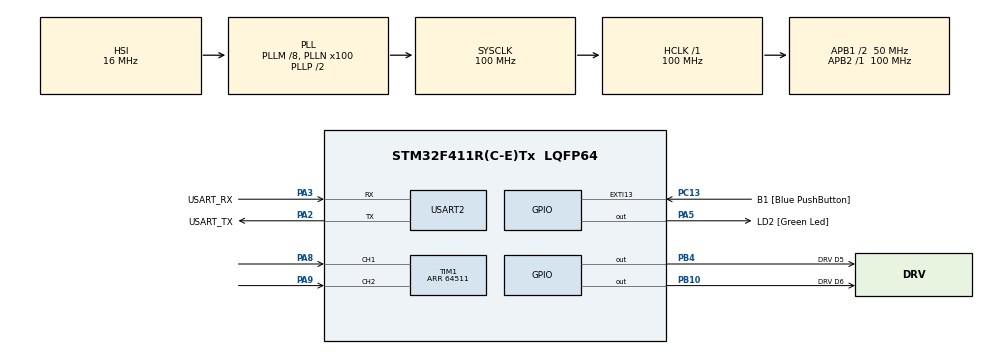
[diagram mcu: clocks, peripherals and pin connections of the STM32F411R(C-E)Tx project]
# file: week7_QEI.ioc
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Mcu.Family=STM32F4
Mcu.Name=STM32F411R(C-E)Tx
Mcu.Package=LQFP64
NVIC.PriorityGroup=NVIC_PRIORITYGROUP_0
NVIC.TIM1_TRG_COM_TIM11_IRQn=true\:0\:0\:false\:false\:true\:true\:true
NVIC.TIM3_IRQn=true\:0\:0\:false\:false\:true\:true\:true
PA13.GPIO_Label=TMS
PA13.Mode=Serial_Wire
PA13.Signal=SYS_JTMS-SWDIO
PA14.GPIO_Label=TCK
PA14.Mode=Serial_Wire
PA14.Signal=SYS_JTCK-SWCLK
PA2.GPIO_Label=USART_TX
PA2.Mode=Asynchronous
PA2.Signal=USART2_TX
PA3.GPIO_Label=USART_RX
PA3.Mode=Asynchronous
PA3.Signal=USART2_RX
PA5.GPIO_Label=LD2 [Green Led]
PA5.Signal=GPIO_Output
PA8.Signal=S_TIM1_CH1
PA9.Signal=S_TIM1_CH2
PB10.GPIO_Label=DRV D6
PB10.Signal=GPIO_Output
PB3.GPIO_Label=SWO
PB3.Signal=SYS_JTDO-SWO
PB4.GPIO_Label=DRV D5
PB4.Signal=GPIO_Output
PC13-ANTI_TAMP.GPIO_Label=B1 [Blue PushButton]
PC13-ANTI_TAMP.GPIO_ModeDefaultEXTI=GPIO_MODE_IT_FALLING
PC13-ANTI_TAMP.Signal=GPXTI13
PC14-OSC32_IN.Mode=LSE-External-Oscillator
PC14-OSC32_IN.Signal=RCC_OSC32_IN
PC15-OSC32_OUT.Mode=LSE-External-Oscillator
PC15-OSC32_OUT.Signal=RCC_OSC32_OUT
PH0\ -\ OSC_IN.Mode=HSE-External-Clock-Source
PH0\ -\ OSC_IN.Signal=RCC_OSC_IN
PH1\ -\ OSC_OUT.Mode=HSE-External-Clock-Source
PH1\ -\ OSC_OUT.Signal=RCC_OSC_OUT
ProjectManager.HeapSize=0x200
ProjectManager.StackSize=0x400
ProjectManager.TargetToolchain=STM32CubeIDE
RCC.48MHZClocksFreq_Value=50000000
RCC.AHBFreq_Value=100000000
RCC.APB1CLKDivider=RCC_HCLK_DIV2
RCC.APB1Freq_Value=50000000
RCC.APB1TimFreq_Value=100000000
RCC.APB2Freq_Value=100000000
RCC.APB2TimFreq_Value=100000000
RCC.CortexFreq_Value=100000000
RCC.FLatency-AdvancedSettings=FLASH_LATENCY_3
RCC.HCLKFreq_Value=100000000
RCC.HSE_VALUE=8000000
RCC.HSI_VALUE=16000000
RCC.PLLM=8
RCC.PLLN=100
RCC.SYSCLKFreq_VALUE=100000000
RCC.SYSCLKSource=RCC_SYSCLKSOURCE_PLLCLK
RCC.VCOOutputFreq_Value=200000000
SH.S_TIM1_CH1.0=TIM1_CH1,Encoder_Interface
SH.S_TIM1_CH2.0=TIM1_CH2,Encoder_Interface
TIM1.EncoderMode=TIM_ENCODERMODE_TI12
TIM1.Period=64511
TIM3.Prescaler=99
USART2.VirtualMode=VM_ASYNC
VP_TIM3_VS_ClockSourceINT.Mode=Internal
board=NUCLEO-F411RE

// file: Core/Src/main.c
 /* USER CODE BEGIN Header */
/**
  ******************************************************************************
  * @file           : main.c
  * @brief          : Main program body
  ******************************************************************************
  * @attention
  *
  * Copyright (c) 2022 STMicroelectronics.
  * All rights reserved.
  *
  * This software is licensed under terms that can be found in the LICENSE file
  * in the root directory of this software component.
  * If no LICENSE file comes with this software, it is provided AS-IS.
  *
  ******************************************************************************
  */
/* USER CODE END Header */
#include "main.h"

/* USER CODE BEGIN Includes */
#define _USER_MATH_DEFINES
#include "math.h"
/* USER CODE END Includes */

/* USER CODE BEGIN PD */
#define PulsePerRev 3072 //12[encoder fin] * 64[gearbox] * 4[QEI rising edge]

/* USER CODE END PD */

TIM_HandleTypeDef htim1;
TIM_HandleTypeDef htim3;

UART_HandleTypeDef huart2;

/* USER CODE BEGIN PV */
uint64_t _micros = 0;

uint16_t RawRead = 0;

float DegRel = 0;
float DegAbs = 0;
float RadRel = 0;
float RadAbs = 0;

// PID------------PID----------------PID-----------
float TargetDeg = 0; // target degree pid
float ErrPos[2] = {0};  // error
float u_contr = 0;
float PreviTime = 0; // find delta T
float DeltaTime = 0;
float CrrntTime = 0;
uint8_t ErrPosx = 0;

float K_P = 0.7;
float K_I = 0.009;
float K_D = 0;

float Propo;
float Integral;
float Derivate;

// mot drv3388----------mot dr3388
int8_t MotCW = 1; // CW = 1, CCW = -1, stop = 0
uint16_t PWMotDrv = 0;
uint8_t PWMCnter = 0;
uint64_t PWMTimestamp = 0;
uint8_t D5pin = 1,D6pin =  1; // out logic for driver
uint8_t aspwm = 0;

uint32_t timestamp = 0;
/* USER CODE END PV */

void SystemClock_Config(void);
static void MX_GPIO_Init(void);
static void MX_USART2_UART_Init(void);
static void MX_TIM1_Init(void);
static void MX_TIM3_Init(void);
/* USER CODE BEGIN PFP */
uint64_t micros();
void UpdatePosition();
void PIDzero();
void MotDrv();
void PWMgen();
/* USER CODE END PFP */

int main(void)
{

  /* MCU Configuration--------------------------------------------------------*/

  /* Reset of all peripherals, Initializes the Flash interface and the Systick. */
  HAL_Init();

  /* Configure the system clock */
  SystemClock_Config();

  /* Initialize all configured peripherals */
  MX_GPIO_Init();
  MX_USART2_UART_Init();
  MX_TIM1_Init();
  MX_TIM3_Init();
  /* USER CODE BEGIN 2 */
  HAL_TIM_Encoder_Start(&htim1, TIM_CHANNEL_ALL);
  HAL_TIM_Base_Start_IT(&htim3);
  /* USER CODE END 2 */

  /* Infinite loop */
  while (1)
  {

    /* USER CODE BEGIN 3 */

	  UpdatePosition();

	  PWMgen();
	  PIDzero();

	  if (micros()- timestamp >= 1000)
	  {
		  MotDrv();
	  }

  }
  /* USER CODE END 3 */
}

void SystemClock_Config(void)
{
  RCC_OscInitTypeDef RCC_OscInitStruct = {0};
  RCC_ClkInitTypeDef RCC_ClkInitStruct = {0};

  /** Configure the main internal regulator output voltage
  */
  __HAL_RCC_PWR_CLK_ENABLE();
  __HAL_PWR_VOLTAGESCALING_CONFIG(PWR_REGULATOR_VOLTAGE_SCALE1);
  /** Initializes the RCC Oscillators according to the specified parameters
  * in the RCC_OscInitTypeDef structure.
  */
  RCC_OscInitStruct.OscillatorType = RCC_OSCILLATORTYPE_HSI;
  RCC_OscInitStruct.HSIState = RCC_HSI_ON;
  RCC_OscInitStruct.HSICalibrationValue = RCC_HSICALIBRATION_DEFAULT;
  RCC_OscInitStruct.PLL.PLLState = RCC_PLL_ON;
  RCC_OscInitStruct.PLL.PLLSource = RCC_PLLSOURCE_HSI;
  RCC_OscInitStruct.PLL.PLLM = 8;
  RCC_OscInitStruct.PLL.PLLN = 100;
  RCC_OscInitStruct.PLL.PLLP = RCC_PLLP_DIV2;
  RCC_OscInitStruct.PLL.PLLQ = 4;
  if (HAL_RCC_OscConfig(&RCC_OscInitStruct) != HAL_OK)
  {
    Error_Handler();
  }
  /** Initializes the CPU, AHB and APB buses clocks
  */
  RCC_ClkInitStruct.ClockType = RCC_CLOCKTYPE_HCLK|RCC_CLOCKTYPE_SYSCLK
                              |RCC_CLOCKTYPE_PCLK1|RCC_CLOCKTYPE_PCLK2;
  RCC_ClkInitStruct.SYSCLKSource = RCC_SYSCLKSOURCE_PLLCLK;
  RCC_ClkInitStruct.AHBCLKDivider = RCC_SYSCLK_DIV1;
  RCC_ClkInitStruct.APB1CLKDivider = RCC_HCLK_DIV2;
  RCC_ClkInitStruct.APB2CLKDivider = RCC_HCLK_DIV1;

  if (HAL_RCC_ClockConfig(&RCC_ClkInitStruct, FLASH_LATENCY_3) != HAL_OK)
  {
    Error_Handler();
  }
}

static void MX_TIM1_Init(void)
{

  TIM_Encoder_InitTypeDef sConfig = {0};
  TIM_MasterConfigTypeDef sMasterConfig = {0};

  htim1.Instance = TIM1;
  htim1.Init.Prescaler = 0;
  htim1.Init.CounterMode = TIM_COUNTERMODE_UP;
  htim1.Init.Period = 64511;
  htim1.Init.ClockDivision = TIM_CLOCKDIVISION_DIV1;
  htim1.Init.RepetitionCounter = 0;
  htim1.Init.AutoReloadPreload = TIM_AUTORELOAD_PRELOAD_DISABLE;
  sConfig.EncoderMode = TIM_ENCODERMODE_TI12;
  sConfig.IC1Polarity = TIM_ICPOLARITY_RISING;
  sConfig.IC1Selection = TIM_ICSELECTION_DIRECTTI;
  sConfig.IC1Prescaler = TIM_ICPSC_DIV1;
  sConfig.IC1Filter = 0;
  sConfig.IC2Polarity = TIM_ICPOLARITY_RISING;
  sConfig.IC2Selection = TIM_ICSELECTION_DIRECTTI;
  sConfig.IC2Prescaler = TIM_ICPSC_DIV1;
  sConfig.IC2Filter = 0;
  if (HAL_TIM_Encoder_Init(&htim1, &sConfig) != HAL_OK)
  {
    Error_Handler();
  }
  sMasterConfig.MasterOutputTrigger = TIM_TRGO_RESET;
  sMasterConfig.MasterSlaveMode = TIM_MASTERSLAVEMODE_DISABLE;
  if (HAL_TIMEx_MasterConfigSynchronization(&htim1, &sMasterConfig) != HAL_OK)
  {
    Error_Handler();
  }

}

static void MX_TIM3_Init(void)
{

  TIM_ClockConfigTypeDef sClockSourceConfig = {0};
  TIM_MasterConfigTypeDef sMasterConfig = {0};

  htim3.Instance = TIM3;
  htim3.Init.Prescaler = 99;
  htim3.Init.CounterMode = TIM_COUNTERMODE_UP;
  htim3.Init.Period = 65535;
  htim3.Init.ClockDivision = TIM_CLOCKDIVISION_DIV1;
  htim3.Init.AutoReloadPreload = TIM_AUTORELOAD_PRELOAD_DISABLE;
  if (HAL_TIM_Base_Init(&htim3) != HAL_OK)
  {
    Error_Handler();
  }
  sClockSourceConfig.ClockSource = TIM_CLOCKSOURCE_INTERNAL;
  if (HAL_TIM_ConfigClockSource(&htim3, &sClockSourceConfig) != HAL_OK)
  {
    Error_Handler();
  }
  sMasterConfig.MasterOutputTrigger = TIM_TRGO_RESET;
  sMasterConfig.MasterSlaveMode = TIM_MASTERSLAVEMODE_DISABLE;
  if (HAL_TIMEx_MasterConfigSynchronization(&htim3, &sMasterConfig) != HAL_OK)
  {
    Error_Handler();
  }

}

static void MX_USART2_UART_Init(void)
{

  huart2.Instance = USART2;
  huart2.Init.BaudRate = 115200;
  huart2.Init.WordLength = UART_WORDLENGTH_8B;
  huart2.Init.StopBits = UART_STOPBITS_1;
  huart2.Init.Parity = UART_PARITY_NONE;
  huart2.Init.Mode = UART_MODE_TX_RX;
  huart2.Init.HwFlowCtl = UART_HWCONTROL_NONE;
  huart2.Init.OverSampling = UART_OVERSAMPLING_16;
  if (HAL_UART_Init(&huart2) != HAL_OK)
  {
    Error_Handler();
  }

}

static void MX_GPIO_Init(void)
{
  GPIO_InitTypeDef GPIO_InitStruct = {0};

  /* GPIO Ports Clock Enable */
  __HAL_RCC_GPIOC_CLK_ENABLE();
  __HAL_RCC_GPIOH_CLK_ENABLE();
  __HAL_RCC_GPIOA_CLK_ENABLE();
  __HAL_RCC_GPIOB_CLK_ENABLE();

  /*Configure GPIO pin Output Level */
  HAL_GPIO_WritePin(LD2_GPIO_Port, LD2_Pin, GPIO_PIN_RESET);

  /*Configure GPIO pin Output Level */
  HAL_GPIO_WritePin(GPIOB, DRV_D6_Pin|DRV_D5_Pin, GPIO_PIN_RESET);

  /*Configure GPIO pin : B1_Pin */
  GPIO_InitStruct.Pin = B1_Pin;
  GPIO_InitStruct.Mode = GPIO_MODE_IT_FALLING;
  GPIO_InitStruct.Pull = GPIO_NOPULL;
  HAL_GPIO_Init(B1_GPIO_Port, &GPIO_InitStruct);

  /*Configure GPIO pin : LD2_Pin */
  GPIO_InitStruct.Pin = LD2_Pin;
  GPIO_InitStruct.Mode = GPIO_MODE_OUTPUT_PP;
  GPIO_InitStruct.Pull = GPIO_NOPULL;
  GPIO_InitStruct.Speed = GPIO_SPEED_FREQ_LOW;
  HAL_GPIO_Init(LD2_GPIO_Port, &GPIO_InitStruct);

  /*Configure GPIO pins : DRV_D6_Pin DRV_D5_Pin */
  GPIO_InitStruct.Pin = DRV_D6_Pin|DRV_D5_Pin;
  GPIO_InitStruct.Mode = GPIO_MODE_OUTPUT_PP;
  GPIO_InitStruct.Pull = GPIO_NOPULL;
  GPIO_InitStruct.Speed = GPIO_SPEED_FREQ_LOW;
  HAL_GPIO_Init(GPIOB, &GPIO_InitStruct);

}

/* USER CODE BEGIN 4 */
void UpdatePosition()
{
	static uint64_t TimestampCalcualtionLoop = 0;
	if(micros()-TimestampCalcualtionLoop >= 1000 )
	{
		RawRead = TIM1->CNT;
		// 64*12*4 = 3072 rising edge = 1 round
		// use .0 in float math operation
		// degree
		DegRel = (RawRead/3072.0)*360.0;
		DegAbs = ((RawRead % 3072)/3072.0)*360.0; // mod 3072 out
		//radiant
		//RadRel = (RawRead/3072.0)*(2*M_PI);
		//RadAbs = ((RawRead % 3072)/3072.0)*(2*M_PI);
	}

}

void PIDzero(){

	CrrntTime = micros();
	DeltaTime = (CrrntTime - PreviTime) / 1000000.0; // seconds
	PreviTime = CrrntTime; // log previ here for next loop

	ErrPos[0] = TargetDeg - DegAbs;

	Propo = K_P * ErrPos[0];

	Integral = Integral + ( ErrPos[0] * DeltaTime ); // Integral -Newton-Leibniz

	Derivate = (ErrPos[0]-ErrPos[1]) / DeltaTime; // d/dt position

	u_contr = Propo + (K_I * Integral) ; // PID u[k] + (K_D * Derivate)

	ErrPos[1] = ErrPos[0]; // log previous error
}

void MotDrv(){
	// drive
	HAL_GPIO_WritePin(GPIOB, GPIO_PIN_4, D5pin);
	HAL_GPIO_WritePin(GPIOB, GPIO_PIN_10, D6pin);
	//   direction chk

	if(u_contr < 0){MotCW = -1;}
	else if (u_contr > 0) {MotCW = 1;}
	else{MotCW = 0;}

	//if( -1 < ErrPos[0] && ErrPos[0] < 1){MotCW = 0;}

	// speed
	PWMotDrv = (int)fabsf(u_contr); // Absolute int
	if(PWMotDrv > 40){PWMotDrv = 40;}
	if(PWMotDrv < 2 && ErrPos[0] >= 1){PWMotDrv = 2;} //pvnt too low pwm that can't drive mot

//
	// driver
	if (MotCW == -1){
		D5pin = aspwm;
		D6pin = 0;

	}
	else if(MotCW == 1){
		D5pin = 0;
		D6pin = aspwm;
	}
	else{// sleep state pin1, pin2 = 1 lock torque
		D5pin = 1;
		D6pin = 1;
	}

}

void PWMgen(){
	if( micros() - PWMTimestamp >= 100){
		PWMTimestamp = micros();
		if(PWMCnter >= 100){PWMCnter=0;} // 100% dutycycle
		else{PWMCnter++;}
		}

	// dutycycle > current percent
	if(PWMotDrv > PWMCnter){
		aspwm = 1;}
	else{
		aspwm = 0;}

}

void HAL_TIM_PeriodElapsedCallback(TIM_HandleTypeDef *htim)
{
	if (htim == &htim3)
	{
		//_micros += 4294967295;//stamp for timer2 is 2^32
		_micros += 65535;
	}
}
uint64_t micros()
{
	return _micros + htim3.Instance->CNT;
}
/* USER CODE END 4 */

void Error_Handler(void)
{
  __disable_irq();
  while (1)
  {
  }
}
